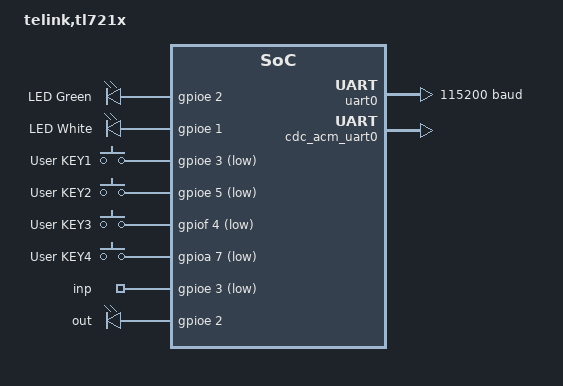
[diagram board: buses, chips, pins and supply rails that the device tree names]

/ {
	model = "telink,tl721x";
	compatible = "telink,tl7218x";
    
	chosen {
		zephyr,console = &cdc_acm_uart0;
		zephyr,shell-uart = &cdc_acm_uart0;
	};

    aliases {
        /delete-property/ mcuboot-button0;
    };

    leds {
        compatible = "gpio-leds";

		led_green: led_1 {
            gpios = <&gpioe 2 GPIO_ACTIVE_HIGH>;
            label = "LED Green";
        };

        led_white: led_2 {
            gpios = <&gpioe 1 GPIO_ACTIVE_HIGH>;
            label = "LED White";
        };
    };

    keys {
        compatible = "gpio-keys";

        key_1: button_1 {
            label = "User KEY1";
            gpios = <&gpioe 3 (GPIO_ACTIVE_LOW | GPIO_PULL_UP)>;
        };

        key_2: button_2 {
            label = "User KEY2";
            gpios = <&gpioe 5 (GPIO_ACTIVE_LOW | GPIO_PULL_UP)>;
        };

        key_3: button_3 {
            label = "User KEY3";
            gpios = <&gpiof 4 (GPIO_ACTIVE_LOW | GPIO_PULL_UP)>;
        };

        key_4: button_4 {
            label = "User KEY4";
            gpios = <&gpioa 7 (GPIO_ACTIVE_LOW | GPIO_PULL_UP)>;
        };

    };

    /* Short TL_Key3 (J6 pin 31) to ground */
	key_pool {
		compatible = "gpio-keys";

		inp {
			gpios = <&gpioe 3 (GPIO_ACTIVE_LOW | GPIO_PULL_UP)>,
				<&gpioe 5 (GPIO_ACTIVE_LOW | GPIO_PULL_UP)>;
		};
	};

    led_pool {
		compatible = "gpio-leds";

		out {
			gpios = <&gpioe 2 GPIO_ACTIVE_HIGH>,
                    <&gpioe 1 GPIO_ACTIVE_HIGH>;
		};
	};

    /delete-node/ pwm_pool;

};


&gpioe {
	interrupts = <39 1>;
	status = "okay";
};

&uart0 {
	status = "okay";
	current-speed = <115200>;
	pinctrl-0 = <&uart0_tx_pf1_default &uart0_rx_pf2_default>;
	pinctrl-names = "default";
};

/* Disable LSPI in overlay */
&lspi {
    status = "disabled";
};

&pinctrl {
	/* Set pad-mul-sel register value.
	 * Note: Pins functions below (pinmux = <...>) depend on this value.
	 */
	pad-mul-sel = <1>;

	/* UART0: TX(PF1), RX(PF2), RTS(PB4), CTS(PB6) */

	uart0_tx_pf1_default: uart0_tx_pf1_default {
		pinmux = <TLX_PINMUX_SET(TLX_PORT_F, TLX_PIN_1,
			(TL721X_FUNC_UART0_TX | TL721X_PULL_UP))>;
	};
	uart0_rx_pf2_default: uart0_rx_pf2_default {
		pinmux = <TLX_PINMUX_SET(TLX_PORT_F, TLX_PIN_2,
			(TL721X_FUNC_UART0_RTX_IO | TL721X_PULL_UP))>;
	};

};

/* USB configuration (Disable it if need full logging) */
&zephyr_udc0 {
	cdc_acm_uart0: cdc_acm_uart0 {
		compatible = "zephyr,cdc-acm-uart";
	};
};
